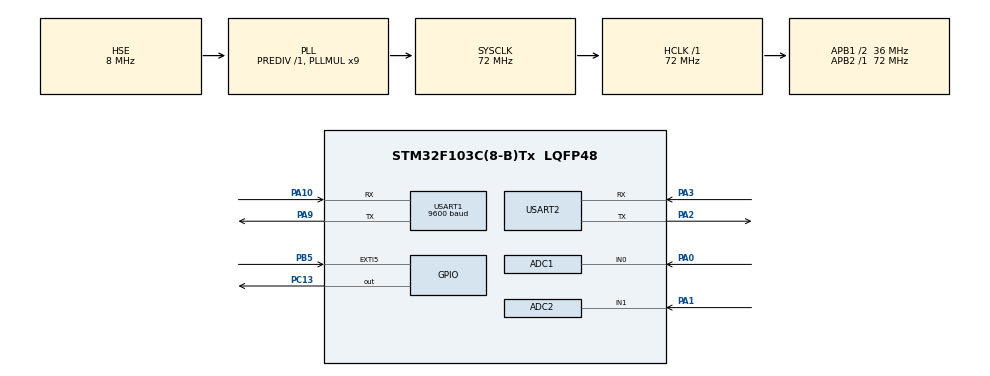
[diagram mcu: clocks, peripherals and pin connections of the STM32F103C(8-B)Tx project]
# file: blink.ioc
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ADC1.Channel-2\#ChannelRegularConversion=ADC_CHANNEL_0
ADC1.EnableRegularConversion=ENABLE
ADC1.NbrOfConversionFlag=1
ADC1.Rank-2\#ChannelRegularConversion=1
ADC1.SamplingTime-2\#ChannelRegularConversion=ADC_SAMPLETIME_239CYCLES_5
ADC1.master=1
ADC2.Channel-0\#ChannelRegularConversion=ADC_CHANNEL_1
ADC2.NbrOfConversionFlag=1
ADC2.Rank-0\#ChannelRegularConversion=1
ADC2.SamplingTime-0\#ChannelRegularConversion=ADC_SAMPLETIME_239CYCLES_5
Mcu.Family=STM32F1
Mcu.Name=STM32F103C(8-B)Tx
Mcu.Package=LQFP48
NVIC.EXTI9_5_IRQn=true\:5\:0\:true\:false\:true\:true\:true\:true
NVIC.PriorityGroup=NVIC_PRIORITYGROUP_4
NVIC.RCC_IRQn=true\:5\:0\:true\:false\:true\:true\:false\:true
NVIC.TIM2_IRQn=true\:5\:0\:true\:false\:true\:false\:true\:true
NVIC.TimeBase=TIM2_IRQn
NVIC.TimeBaseIP=TIM2
NVIC.USART1_IRQn=true\:5\:0\:true\:false\:true\:true\:true\:true
NVIC.USART2_IRQn=true\:0\:0\:false\:false\:true\:true\:true\:true
PA0-WKUP.Signal=ADCx_IN0
PA1.Signal=ADCx_IN1
PA10.Mode=Asynchronous
PA10.Signal=USART1_RX
PA13.Mode=Serial_Wire
PA13.Signal=SYS_JTMS-SWDIO
PA14.Mode=Serial_Wire
PA14.Signal=SYS_JTCK-SWCLK
PA2.Mode=Asynchronous
PA2.Signal=USART2_TX
PA3.Mode=Asynchronous
PA3.Signal=USART2_RX
PA9.Mode=Asynchronous
PA9.Signal=USART1_TX
PB5.GPIO_ModeDefaultEXTI=GPIO_MODE_IT_FALLING
PB5.GPIO_PuPd=GPIO_PULLUP
PB5.Signal=GPXTI5
PC13-TAMPER-RTC.Signal=GPIO_Output
PD0-OSC_IN.Mode=HSE-External-Oscillator
PD0-OSC_IN.Signal=RCC_OSC_IN
PD1-OSC_OUT.Mode=HSE-External-Oscillator
PD1-OSC_OUT.Signal=RCC_OSC_OUT
ProjectManager.HeapSize=0x200
ProjectManager.StackSize=0x400
ProjectManager.TargetToolchain=Makefile
RCC.ADCPresc=RCC_ADCPCLK2_DIV6
RCC.AHBFreq_Value=72000000
RCC.APB1CLKDivider=RCC_HCLK_DIV2
RCC.APB1Freq_Value=36000000
RCC.APB1TimFreq_Value=72000000
RCC.APB2Freq_Value=72000000
RCC.APB2TimFreq_Value=72000000
RCC.HCLKFreq_Value=72000000
RCC.PLLMUL=RCC_PLL_MUL9
RCC.PLLSourceVirtual=RCC_PLLSOURCE_HSE
RCC.SYSCLKFreq_VALUE=72000000
RCC.SYSCLKSource=RCC_SYSCLKSOURCE_PLLCLK
RCC.USBFreq_Value=72000000
SH.ADCx_IN0.0=ADC1_IN0,IN0
SH.ADCx_IN1.0=ADC2_IN1,IN1
USART1.BaudRate=9600
USART1.VirtualMode=VM_ASYNC
USART2.VirtualMode=VM_ASYNC
VP_SYS_VS_tim2.Mode=TIM2
board=custom

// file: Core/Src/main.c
/* USER CODE BEGIN Header */
/**
 ******************************************************************************
 * @file           : main.c
 * @brief          : Main program body
 ******************************************************************************
 * @attention
 *
 * Copyright (c) 2025 STMicroelectronics.
 * All rights reserved.
 *
 * This software is licensed under terms that can be found in the LICENSE file
 * in the root directory of this software component.
 * If no LICENSE file comes with this software, it is provided AS-IS.
 *
 ******************************************************************************
 */
/* USER CODE END Header */
#include "main.h"

/* USER CODE BEGIN Includes */
#include <stdio.h>

#include "FreeRTOS.h"
#include "analog.h"
#include "app.h"
#include "button.h"
#include "comms.h"
#include "log.h"
#include "sim7600.h"
#include "task.h"
/* USER CODE END Includes */

ADC_HandleTypeDef hadc1;
ADC_HandleTypeDef hadc2;

UART_HandleTypeDef huart1;
UART_HandleTypeDef huart2;

/* USER CODE BEGIN PV */
static const char *TAG = "app";
/* USER CODE END PV */

void SystemClock_Config(void);
static void MX_GPIO_Init(void);
static void MX_USART1_UART_Init(void);
static void MX_ADC1_Init(void);
static void MX_ADC2_Init(void);
static void MX_USART2_UART_Init(void);

int main(void)
{

  /* MCU Configuration--------------------------------------------------------*/

  /* Reset of all peripherals, Initializes the Flash interface and the Systick. */
  HAL_Init();

  /* Configure the system clock */
  SystemClock_Config();

  /* Initialize all configured peripherals */
  MX_GPIO_Init();
  MX_USART1_UART_Init();
  MX_ADC1_Init();
  MX_ADC2_Init();
  MX_USART2_UART_Init();
  /* USER CODE BEGIN 2 */

  comms_init(&huart1);
  button_init();
  xTaskCreate(blink, "blink", 128, NULL, 4, NULL);
  xTaskCreate(sensors, "sensors", 128, NULL, tskIDLE_PRIORITY, NULL);
  xTaskCreate(shell, "shell", 128, NULL, 3, NULL);
  xTaskCreate(button, "button", 128, NULL, 2, NULL);
  vTaskStartScheduler();

  /* USER CODE END 2 */

  /* Infinite loop */
  while (1) {

  }
}

void SystemClock_Config(void)
{
  RCC_OscInitTypeDef RCC_OscInitStruct = {0};
  RCC_ClkInitTypeDef RCC_ClkInitStruct = {0};
  RCC_PeriphCLKInitTypeDef PeriphClkInit = {0};

  /** Initializes the RCC Oscillators according to the specified parameters
  * in the RCC_OscInitTypeDef structure.
  */
  RCC_OscInitStruct.OscillatorType = RCC_OSCILLATORTYPE_HSE;
  RCC_OscInitStruct.HSEState = RCC_HSE_ON;
  RCC_OscInitStruct.HSEPredivValue = RCC_HSE_PREDIV_DIV1;
  RCC_OscInitStruct.HSIState = RCC_HSI_ON;
  RCC_OscInitStruct.PLL.PLLState = RCC_PLL_ON;
  RCC_OscInitStruct.PLL.PLLSource = RCC_PLLSOURCE_HSE;
  RCC_OscInitStruct.PLL.PLLMUL = RCC_PLL_MUL9;
  if (HAL_RCC_OscConfig(&RCC_OscInitStruct) != HAL_OK)
  {
    Error_Handler();
  }

  /** Initializes the CPU, AHB and APB buses clocks
  */
  RCC_ClkInitStruct.ClockType = RCC_CLOCKTYPE_HCLK|RCC_CLOCKTYPE_SYSCLK
                              |RCC_CLOCKTYPE_PCLK1|RCC_CLOCKTYPE_PCLK2;
  RCC_ClkInitStruct.SYSCLKSource = RCC_SYSCLKSOURCE_PLLCLK;
  RCC_ClkInitStruct.AHBCLKDivider = RCC_SYSCLK_DIV1;
  RCC_ClkInitStruct.APB1CLKDivider = RCC_HCLK_DIV2;
  RCC_ClkInitStruct.APB2CLKDivider = RCC_HCLK_DIV1;

  if (HAL_RCC_ClockConfig(&RCC_ClkInitStruct, FLASH_LATENCY_2) != HAL_OK)
  {
    Error_Handler();
  }
  PeriphClkInit.PeriphClockSelection = RCC_PERIPHCLK_ADC;
  PeriphClkInit.AdcClockSelection = RCC_ADCPCLK2_DIV6;
  if (HAL_RCCEx_PeriphCLKConfig(&PeriphClkInit) != HAL_OK)
  {
    Error_Handler();
  }
}

static void MX_ADC1_Init(void)
{

  ADC_ChannelConfTypeDef sConfig = {0};

  /** Common config
  */
  hadc1.Instance = ADC1;
  hadc1.Init.ScanConvMode = ADC_SCAN_DISABLE;
  hadc1.Init.ContinuousConvMode = DISABLE;
  hadc1.Init.DiscontinuousConvMode = DISABLE;
  hadc1.Init.ExternalTrigConv = ADC_SOFTWARE_START;
  hadc1.Init.DataAlign = ADC_DATAALIGN_RIGHT;
  hadc1.Init.NbrOfConversion = 1;
  if (HAL_ADC_Init(&hadc1) != HAL_OK)
  {
    Error_Handler();
  }

  /** Configure Regular Channel
  */
  sConfig.Channel = ADC_CHANNEL_0;
  sConfig.Rank = ADC_REGULAR_RANK_1;
  sConfig.SamplingTime = ADC_SAMPLETIME_239CYCLES_5;
  if (HAL_ADC_ConfigChannel(&hadc1, &sConfig) != HAL_OK)
  {
    Error_Handler();
  }

}

static void MX_ADC2_Init(void)
{

  ADC_ChannelConfTypeDef sConfig = {0};

  /** Common config
  */
  hadc2.Instance = ADC2;
  hadc2.Init.ScanConvMode = ADC_SCAN_DISABLE;
  hadc2.Init.ContinuousConvMode = DISABLE;
  hadc2.Init.DiscontinuousConvMode = DISABLE;
  hadc2.Init.ExternalTrigConv = ADC_SOFTWARE_START;
  hadc2.Init.DataAlign = ADC_DATAALIGN_RIGHT;
  hadc2.Init.NbrOfConversion = 1;
  if (HAL_ADC_Init(&hadc2) != HAL_OK)
  {
    Error_Handler();
  }

  /** Configure Regular Channel
  */
  sConfig.Channel = ADC_CHANNEL_1;
  sConfig.Rank = ADC_REGULAR_RANK_1;
  sConfig.SamplingTime = ADC_SAMPLETIME_239CYCLES_5;
  if (HAL_ADC_ConfigChannel(&hadc2, &sConfig) != HAL_OK)
  {
    Error_Handler();
  }

}

static void MX_USART1_UART_Init(void)
{

  huart1.Instance = USART1;
  huart1.Init.BaudRate = 9600;
  huart1.Init.WordLength = UART_WORDLENGTH_8B;
  huart1.Init.StopBits = UART_STOPBITS_1;
  huart1.Init.Parity = UART_PARITY_NONE;
  huart1.Init.Mode = UART_MODE_TX_RX;
  huart1.Init.HwFlowCtl = UART_HWCONTROL_NONE;
  huart1.Init.OverSampling = UART_OVERSAMPLING_16;
  if (HAL_UART_Init(&huart1) != HAL_OK)
  {
    Error_Handler();
  }

}

static void MX_USART2_UART_Init(void)
{

  huart2.Instance = USART2;
  huart2.Init.BaudRate = 115200;
  huart2.Init.WordLength = UART_WORDLENGTH_8B;
  huart2.Init.StopBits = UART_STOPBITS_1;
  huart2.Init.Parity = UART_PARITY_NONE;
  huart2.Init.Mode = UART_MODE_TX_RX;
  huart2.Init.HwFlowCtl = UART_HWCONTROL_NONE;
  huart2.Init.OverSampling = UART_OVERSAMPLING_16;
  if (HAL_UART_Init(&huart2) != HAL_OK)
  {
    Error_Handler();
  }

}

static void MX_GPIO_Init(void)
{
  GPIO_InitTypeDef GPIO_InitStruct = {0};

  /* GPIO Ports Clock Enable */
  __HAL_RCC_GPIOC_CLK_ENABLE();
  __HAL_RCC_GPIOD_CLK_ENABLE();
  __HAL_RCC_GPIOA_CLK_ENABLE();
  __HAL_RCC_GPIOB_CLK_ENABLE();

  /*Configure GPIO pin Output Level */
  HAL_GPIO_WritePin(GPIOC, GPIO_PIN_13, GPIO_PIN_RESET);

  /*Configure GPIO pin : PC13 */
  GPIO_InitStruct.Pin = GPIO_PIN_13;
  GPIO_InitStruct.Mode = GPIO_MODE_OUTPUT_PP;
  GPIO_InitStruct.Pull = GPIO_NOPULL;
  GPIO_InitStruct.Speed = GPIO_SPEED_FREQ_LOW;
  HAL_GPIO_Init(GPIOC, &GPIO_InitStruct);

  /*Configure GPIO pin : PB5 */
  GPIO_InitStruct.Pin = GPIO_PIN_5;
  GPIO_InitStruct.Mode = GPIO_MODE_IT_FALLING;
  GPIO_InitStruct.Pull = GPIO_PULLUP;
  HAL_GPIO_Init(GPIOB, &GPIO_InitStruct);

  /* EXTI interrupt init*/
  HAL_NVIC_SetPriority(EXTI9_5_IRQn, 5, 0);
  HAL_NVIC_EnableIRQ(EXTI9_5_IRQn);

}

/* USER CODE BEGIN 4 */
int _write(int file, char *ptr, int len) {
  (void)file;

  if (HAL_UART_Transmit(&huart1, (uint8_t *)ptr, len, HAL_MAX_DELAY) == HAL_OK)
    return len;

  return -1;
}

int __io_putchar(int ch) {
  HAL_UART_Transmit(&huart1, (uint8_t *)&ch, 1, HAL_MAX_DELAY);
  return ch;
}

/* USER CODE END 4 */

void HAL_TIM_PeriodElapsedCallback(TIM_HandleTypeDef *htim)
{
  if (htim->Instance == TIM2) {
    HAL_IncTick();
  }
}

void Error_Handler(void)
{
  __disable_irq();
  while (1) {
  }
}

#ifdef  USE_FULL_ASSERT
/**
  * @brief  Reports the name of the source file and the source line number
  *         where the assert_param error has occurred.
  * @param  file: pointer to the source file name
  * @param  line: assert_param error line source number
  * @retval None
  */
void assert_failed(uint8_t *file, uint32_t line)
{
  /* USER CODE BEGIN 6 */
  /* User can add his own implementation to report the file name and line
     number, ex: printf("Wrong parameters value: file %s on line %d\r\n", file,
     line) */
  /* USER CODE END 6 */
}
#endif /* USE_FULL_ASSERT */
